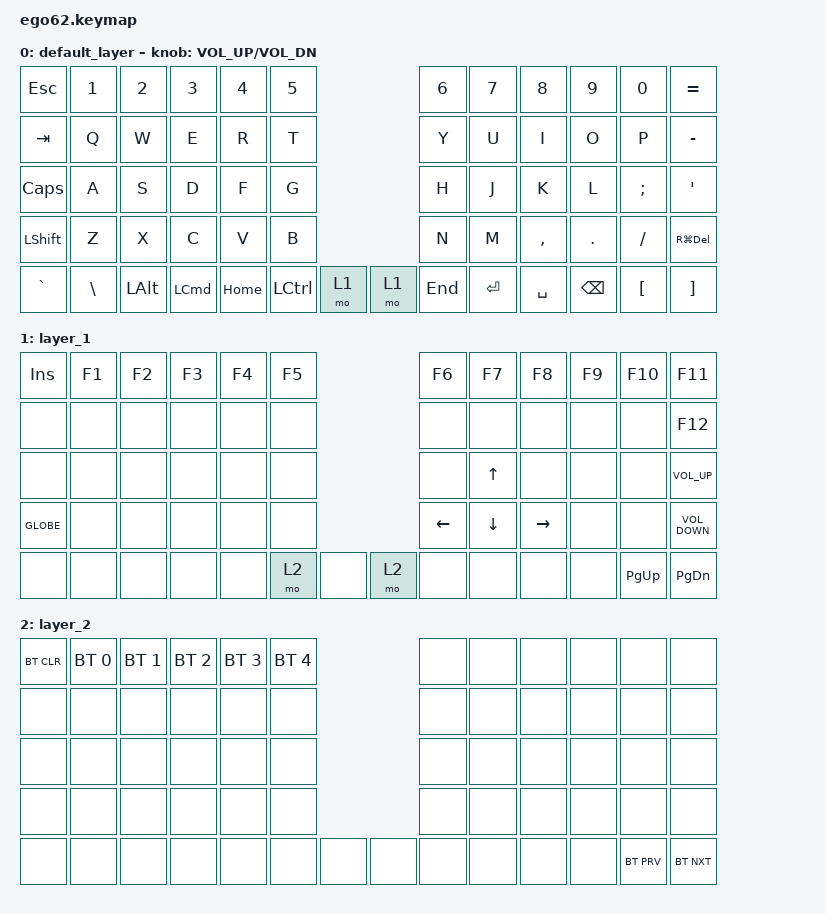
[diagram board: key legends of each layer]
/*
 * Copyright (c) 2020 The ZMK Contributors
 *
 * SPDX-License-Identifier: MIT
 */

#include <behaviors.dtsi>
#include <dt-bindings/zmk/bt.h>
#include <dt-bindings/zmk/keys.h>

/ {
    keymap {
        compatible = "zmk,keymap";

        default_layer {
            bindings = <
&kp ESC       &kp N1         &kp N2        &kp N3            &kp N4    &kp N5                          &kp N6   &kp N7     &kp N8     &kp N9         &kp N0         &kp EQUAL
&kp TAB       &kp Q          &kp W         &kp E             &kp R     &kp T                           &kp Y    &kp U      &kp I      &kp O          &kp P          &kp MINUS
&kp CAPSLOCK  &kp A          &kp S         &kp D             &kp F     &kp G                           &kp H    &kp J      &kp K      &kp L          &kp SEMICOLON  &kp APOS
&kp LSHFT     &kp Z          &kp X         &kp C             &kp V     &kp B                           &kp N    &kp M      &kp COMMA  &kp DOT        &kp FSLH       &kp RG(DELETE)
&kp GRAVE     &kp BACKSLASH  &kp LEFT_ALT  &kp LEFT_COMMAND  &kp HOME  &kp LEFT_CONTROL  &mo 1  &mo 1  &kp END  &kp ENTER  &kp SPACE  &kp BACKSPACE  &kp LBKT       &kp RBKT
            >;

            sensor-bindings = <&inc_dec_kp C_VOL_UP C_VOL_DN>;
        };

        layer_1 {
            bindings = <
&kp INSERT  &kp F1  &kp F2  &kp F3  &kp F4  &kp F5                &kp F6    &kp F7          &kp F8           &kp F9  &kp F10      &kp F11
&none       &none   &none   &none   &none   &none                 &none     &none           &none            &none   &none        &kp F12
&none       &none   &none   &none   &none   &none                 &none     &kp UP_ARROW    &none            &none   &none        &kp C_VOLUME_UP
&kp GLOBE   &none   &none   &none   &none   &none                 &kp LEFT  &kp DOWN_ARROW  &kp RIGHT_ARROW  &none   &none        &kp C_VOLUME_DOWN
&none       &none   &none   &none   &none   &mo 2   &none  &mo 2  &none     &none           &none            &none   &kp PAGE_UP  &kp PAGE_DOWN
            >;
        };

        layer_2 {
            bindings = <
&bt BT_CLR  &bt BT_SEL 0  &bt BT_SEL 1  &bt BT_SEL 2  &bt BT_SEL 3  &bt BT_SEL 4                &none  &none  &none  &none  &none       &none
&none       &none         &none         &none         &none         &none                       &none  &none  &none  &none  &none       &none
&none       &none         &none         &none         &none         &none                       &none  &none  &none  &none  &none       &none
&none       &none         &none         &none         &none         &none                       &none  &none  &none  &none  &none       &none
&none       &none         &none         &none         &none         &none         &none  &none  &none  &none  &none  &none  &bt BT_PRV  &bt BT_NXT
            >;
        };
    };
};
